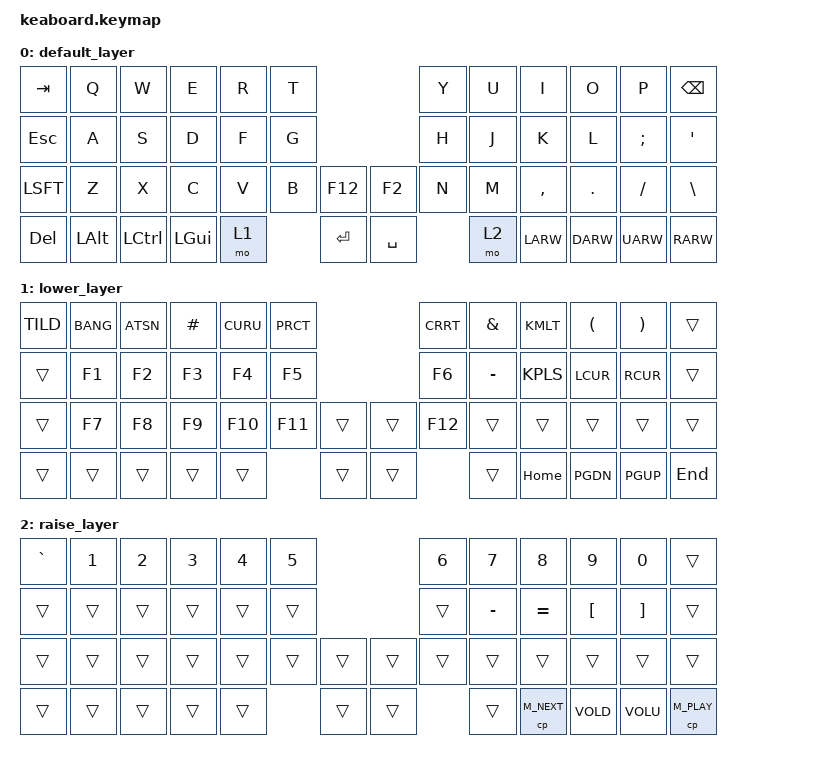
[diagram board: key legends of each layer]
/*
 * Copyright (c) 2020 Keith Wade
 *
 * SPDX-License-Identifier: MIT
 */

#include <behaviors.dtsi>
#include <dt-bindings/zmk/keys.h>

/ {
	keymap {
		compatible = "zmk,keymap";

		default_layer {
// --------------------------------------------------------------------------------------------------------
// |  TAB  |  Q  |  W   |  E  |   R   |  T  |                   |  Y  |   U   |  I   |  O   |  P  |   -   |
// |  ESC  |  A  |  S   |  D  |   F   |  G  |                   |  H  |   J   |  K   |  L   |  ;  |   '   |
// | SHIFT |  Z  |  X   |  C  |   V   |  B  |  F2   |  |  F12   |  N  |   M   |  ,   |  .   |  /  |   \   |
// |  DEL  | ALT | CTRL | GUI | LOWER |     | ENTER |  | SPACE  |     | RAISE |  <-  |  v   |  ^  |  ->   |
			bindings = <
&kp TAB  &kp Q     &kp W     &kp E     &kp R     &kp T                       &kp Y     &kp U     &kp I     &kp O     &kp P     &kp BKSP
&kp ESC  &kp A     &kp S     &kp D     &kp F     &kp G                       &kp H     &kp J     &kp K     &kp L     &kp SCLN  &kp QUOT
&kp LSFT &kp Z     &kp X     &kp C     &kp V     &kp B     &kp F12  &kp F2   &kp N     &kp M     &kp CMMA  &kp DOT   &kp FSLH  &kp BSLH
&kp DEL  &kp LALT  &kp LCTL  &kp LGUI  &mo 1               &kp RET  &kp SPC            &mo 2     &kp LARW  &kp DARW  &kp UARW  &kp RARW
			>;
		};

		lower_layer {
// ------------------------------------------------------------------------------------------------------------
// |   ~   |  !  |  @  |  #   |  $   |  %   |                   |  ^   |  &   |  *    |  (   |   )   |       |
// |       |  F1 |  F2 |  F3  |  F4  |  F5  |                   |  F6  |  _   |  +    |  {   |   }   |       |
// |       |  F7 |  F8 |  F9  |  F10 |  F11 |        |  |       |  F12 |      |       |      |       |       |
// |       |     |     |      |      |      |        |  |       |      |      | HOME  | PGDN | PGUP  |  END  |
			bindings = <
&kp TILD &kp BANG  &kp ATSN  &kp HASH  &kp CURU  &kp PRCT                    &kp CRRT  &kp AMPS  &kp KMLT  &kp LPRN  &kp RPRN  &trans
&trans   &kp F1    &kp F2    &kp F3    &kp F4    &kp F5                      &kp F6    &kp MINUS &kp KPLS  &kp LCUR  &kp RCUR  &trans
&trans   &kp F7    &kp F8    &kp F9    &kp F10   &kp F11   &trans   &trans   &kp F12   &trans    &trans    &trans    &trans    &trans
&trans   &trans    &trans    &trans    &trans              &trans   &trans             &trans    &kp HOME  &kp PGDN  &kp PGUP  &kp END
			>;
		};

		raise_layer {
// ------------------------------------------------------------------------------------------------------------
// |   `   |  1  |  2  |  3   |  4   |  5   |                   |  6   |   7   |   8   |  9   |   0   |       |
// |       |     |     |      |      |      |                   |      |   -   |   =   |  [   |   ]   |       |
// |       |     |     |      |      |      |        |  |       |      |       |       |      |       |       |
// |       |     |     |      |      |      |        |  |       |      |       | NEXT  | VLDN | VLUP  | PLAY  |
			bindings = <
&kp GRAV &kp NUM_1 &kp NUM_2 &kp NUM_3 &kp NUM_4 &kp NUM_5                   &kp NUM_6 &kp NUM_7 &kp NUM_8  &kp NUM_9 &kp NUM_0 &trans
&trans   &trans    &trans    &trans    &trans    &trans                      &trans    &kp MINUS &kp EQL    &kp LBKT  &kp RBKT  &trans
&trans   &trans    &trans    &trans    &trans    &trans    &trans   &trans   &trans    &trans    &trans     &trans    &trans    &trans
&trans   &trans    &trans    &trans    &trans              &trans   &trans             &trans    &cp M_NEXT &kp VOLD  &kp VOLU  &cp M_PLAY
			>;
		};
	};
};
